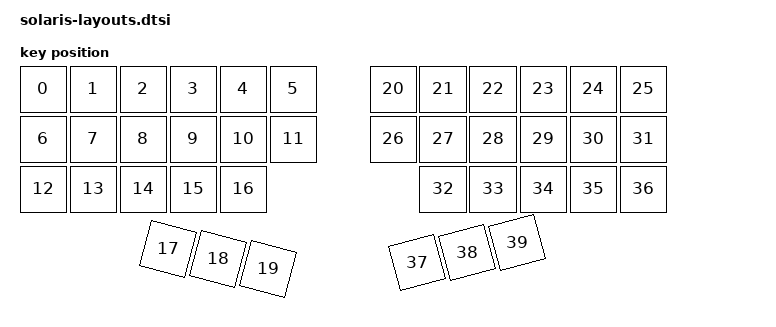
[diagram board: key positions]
#include <physical_layouts.dtsi>

/ {
    solaris_layout: solaris_layout {
        compatible = "zmk,physical-layout";
        display-name = "Solaris Layout";
        
        keys  
           
            = <&key_physical_attrs 100 100    0    0       0     0     0>  
            , <&key_physical_attrs 100 100  100    0       0     0     0>   
            , <&key_physical_attrs 100 100  200    0       0     0     0> 
            , <&key_physical_attrs 100 100  300    0       0     0     0> 
            , <&key_physical_attrs 100 100  400    0       0     0     0> 
            , <&key_physical_attrs 100 100  500    0       0     0     0> 
            
             
            , <&key_physical_attrs 100 100    0  100       0     0     0> 
            , <&key_physical_attrs 100 100  100  100       0     0     0>
            , <&key_physical_attrs 100 100  200  100       0     0     0>
            , <&key_physical_attrs 100 100  300  100       0     0     0>
            , <&key_physical_attrs 100 100  400  100       0     0     0>
            , <&key_physical_attrs 100 100  500  100       0     0     0>
            
                        
            , <&key_physical_attrs 100 100    0  200       0     0     0> 
            , <&key_physical_attrs 100 100  100  200       0     0     0> 
            , <&key_physical_attrs 100 100  200  200       0     0     0> 
            , <&key_physical_attrs 100 100  300  200       0     0     0> 
            , <&key_physical_attrs 100 100  400  200       0     0     0> 
            
            
            , <&key_physical_attrs 100 100  250  320    1500   300   370> 
            , <&key_physical_attrs 100 100  350  340    1500   400   390>   
            , <&key_physical_attrs 100 100  450  360    1500   500   410> 
            
            
            , <&key_physical_attrs 100 100  700    0       0     0     0>  
            , <&key_physical_attrs 100 100  800    0       0     0     0>  
            , <&key_physical_attrs 100 100  900    0       0     0     0>  
            , <&key_physical_attrs 100 100 1000    0       0     0     0>  
            , <&key_physical_attrs 100 100 1100    0       0     0     0>  
            , <&key_physical_attrs 100 100 1200    0       0     0     0>  
            
            
            , <&key_physical_attrs 100 100  700  100       0     0     0>  
            , <&key_physical_attrs 100 100  800  100       0     0     0> 
            , <&key_physical_attrs 100 100  900  100       0     0     0> 
            , <&key_physical_attrs 100 100 1000  100       0     0     0> 
            , <&key_physical_attrs 100 100 1100  100       0     0     0> 
            , <&key_physical_attrs 100 100 1200  100       0     0     0> 
            
            
            , <&key_physical_attrs 100 100  800  200       0     0     0>  
            , <&key_physical_attrs 100 100  900  200       0     0     0>  
            , <&key_physical_attrs 100 100 1000  200       0     0     0>  
            , <&key_physical_attrs 100 100 1100  200       0     0     0>  
            , <&key_physical_attrs 100 100 1200  200       0     0     0>  
            
            // Right side - thumb cluster (rotated keys)
            , <&key_physical_attrs 100 100  750  360   (-1500)  750   410>  
            , <&key_physical_attrs 100 100  850  340   (-1500)  850   390>  
            , <&key_physical_attrs 100 100  950  320   (-1500)  950   370>  
            ;
    };
};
